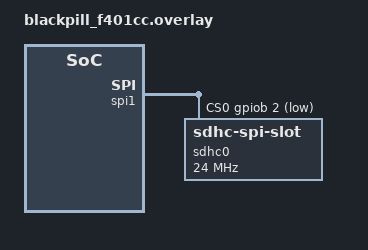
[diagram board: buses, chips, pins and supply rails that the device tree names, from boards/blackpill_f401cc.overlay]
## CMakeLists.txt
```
cmake_minimum_required(VERSION 3.20)

find_package(Zephyr)
project(imu_logger)

target_include_directories(app PRIVATE src/modules/include src/modules/common/include)

target_sources(app PRIVATE src/main.c src/modules/icm20948.c src/modules/common/i2c_utils.c src/modules/sdcard.c)
```

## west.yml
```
manifest:
  projects:
    #Sensirion algorithm
    - name: embedded-sgp
      path: aqw/ext/embedded-sgp
      revision: 4f69c0d8e2f7192aeaf0d268211b1f54af50146b
      url: https://github.com/Sensirion/embedded-sgp.git
  self:
    #This repository should be cloned to
    path: aqw
```

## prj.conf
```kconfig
#Storage related
CONFIG_I2C=y
CONFIG_SPI=y
CONFIG_SPI_NRFX_RAM_BUFFER_SIZE=64

#Filesystem
CONFIG_DISK_ACCESS=y
CONFIG_FILE_SYSTEM=y
CONFIG_FAT_FILESYSTEM_ELM=y
CONFIG_FS_FATFS_EXFAT=y
CONFIG_MAIN_STACK_SIZE=2048


#Add external flash
CONFIG_DISK_DRIVER_SDMMC=y

CONFIG_LOG=y
CONFIG_LOG_BACKEND_UART=y
```

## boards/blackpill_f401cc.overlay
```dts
/ {
    aliases {
        board-i2c = &i2c1;
    };
};

&spi1 {
        status = "okay";
        cs-gpios=<&gpiob 2 GPIO_ACTIVE_LOW>;

         sdhc0: sdhc@0 {
                compatible = "zephyr,sdhc-spi-slot";
                reg = <0>;
                status = "okay";
                mmc {
                    compatible = "zephyr,sdmmc-disk";
                    status = "okay";
                };
                spi-max-frequency = <24000000>;
        };
    };
```

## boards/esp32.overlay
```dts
/ {
    aliases {
        board-i2c = &i2c0;
    };
};

&spi3 {
    status = "okay";


    sdhc0: sdhc@0 {
        compatible = "zephyr,sdhc-spi-slot";
        reg = <0>;
        status = "okay";
        spi-max-frequency = <900000>;
        mmc {
             compatible = "zephyr,sdmmc-disk";
             status = "okay";
        };
    };
};
```

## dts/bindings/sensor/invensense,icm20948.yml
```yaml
description: ...
compatible: "invensense,icm20948"

include: [sensor-device.yaml, i2c-device.yaml]

properties:
  int-gpios:
    type: phandle-array
    description: |
      The INT signal default configuration is active-high.  The
      property value should ensure the flags properly describe the
      signal that is presented to the driver.

  reg:
    type: int
    required: true
    description: |
      The address of the sensor. Can be 0x68 or 0x69. The value of AD0 is the LSB.
    enum:
      - 0x68
      - 0x69
```

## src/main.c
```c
#include <zephyr/kernel.h>
#include "i2c_utils.h"
#include "icm20948.h"
#include "zephyr/logging/log.h"
#include "sdcard.h"
#include "stdio.h"
#include "zephyr/sys/util.h"

LOG_MODULE_REGISTER(imu_logger, LOG_LEVEL_INF);

void main(void) {
    int err;

    const struct device *const i2c_dev = DEVICE_DT_GET(DT_ALIAS(board_i2c));
    printk("\n");

    if (!device_is_ready(i2c_dev)) {
        printk("Could not get i2c device\n");
        return;
    }

    printk("Using board %s\n", CONFIG_BOARD);
    printk("Scanning i2c:\n");

    for (uint8_t i = 3; i < 0x78; i++) {
        int result = i2c_ping(i2c_dev, i);

        if (i % 16 == 0)
            printk("\n%.2x:", i);

        if (result == 0) {
            printk(" %.2x", i);
        } else
            printk(" --");
    }

    //Starting imu
    err = init_imu(0x68);
    if (err) {
        LOG_ERR("\nError initializing IMU (0x%x)\n", err);
    }

    printk("\n");
    //Starting SD card
    static const char *disk_pdrv = "SD";

    err = disk_access_init(disk_pdrv);
    if (err) {
        LOG_ERR("\nStorage init ERROR! (%d)\n", err);
        return;
    }

    err = fs_mount(&mp);
    if (err != FR_OK) {
        LOG_ERR("Error mounting disk.");
        return;
    }

    printk("\n");

    struct fs_file_t readsFile;

    fs_file_t_init(&readsFile);

    const char *readsFileName = "/SD:/reads.csv";

    fs_open(&readsFile, readsFileName, (FS_O_CREATE | FS_O_APPEND));
    fs_close(&readsFile);

    char buffer[255] = "";


    while (1) {
        imu_read_sensors();
        sprintf((char *) buffer, "%d,%d,%d\n", IMU.accX, IMU.accY, IMU.accZ);
        utf8_trunc(buffer);

        printk("%s", buffer);

        fs_open(&readsFile, readsFileName, (FS_O_APPEND | FS_O_WRITE));

        fs_write(&readsFile, buffer, strlen(buffer));

        fs_close(&readsFile);

        k_sleep(K_USEC(2500));
    }

}
```
